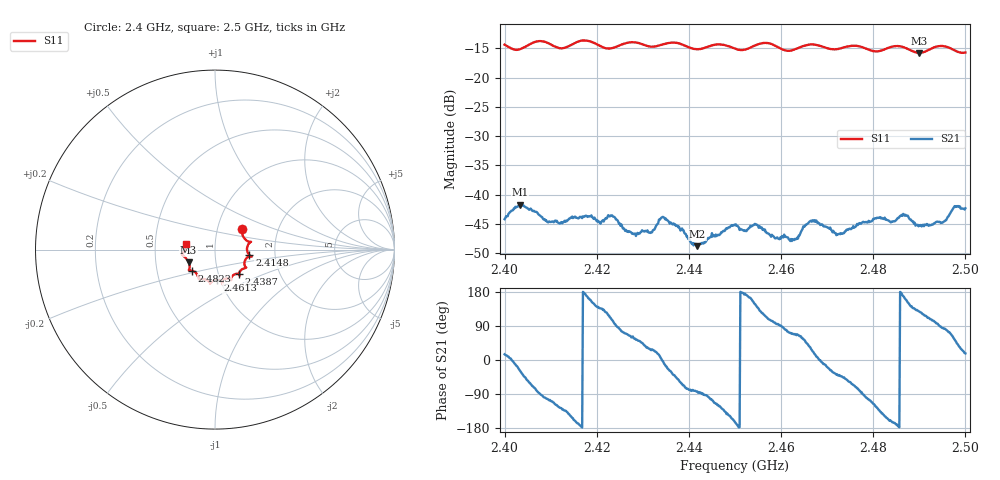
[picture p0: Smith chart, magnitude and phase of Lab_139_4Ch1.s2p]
# Hz S RI R 50
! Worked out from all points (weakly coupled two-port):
!   601 points, 2.4 GHz to 2.5 GHz, reference 50 ohm
!   highest |S21| = -41.71 dB at 2.4033 GHz (marker M1); lowest = -48.8 dB at 2.4418 GHz (marker M2)
!   lowest |S11| = -15.8 dB at 2.49 GHz (marker M3), VSWR 1.39, Z = 36.8 - j5.3 ohm
!   |S11| at or under -10 dB: start of sweep to end of sweep
!   S12 and S22 are empty: the file has one direction only
!   S11 on the Smith chart (normalised r, x): 2.4 GHz: 1.31, +0.32; 2.4148 GHz: 1.47, -0.10; 2.4387 GHz: 1.25, -0.36; 2.4613 GHz: 0.97, -0.34; 2.4823 GHz: 0.75, -0.18; 2.5 GHz: 0.72, +0.04
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2.4e9  0.1516 0.117  0.00598 0.00161  0 0  0 0
2.403333e9  0.1629 0.0638  0.00724 -0.00388  0 0  0 0
2.409667e9  0.1922 0.0373  -0.00167 -0.00568  0 0  0 0
2.414833e9  0.1914 -0.0314  -0.00567 -0.0028  0 0  0 0
2.416667e9  0.2033 -0.0398  -0.00646 -0.000446  0 0  0 0
2.4235e9  0.1635 -0.0743  -0.00147 0.00634  0 0  0 0
2.428167e9  0.1735 -0.1006  0.00258 0.00387  0 0  0 0
2.433333e9  0.1357 -0.1297  0.00551 0.00154  0 0  0 0
2.438667e9  0.1328 -0.1376  0.00198 -0.00458  0 0  0 0
2.441833e9  0.1031 -0.1414  0.00044 -0.00361  0 0  0 0
2.45e9  0.0726 -0.1615  -0.00528 -0.00151  0 0  0 0
2.456667e9  0.0441 -0.1934  -0.00202 0.00434  0 0  0 0
2.461333e9  0.0136 -0.1694  0.0011 0.00419  0 0  0 0
2.463167e9  -0.012 -0.1751  0.00164 0.00383  0 0  0 0
2.466667e9  -0.027 -0.1906  0.00527 0.00262  0 0  0 0
2.4725e9  -0.0655 -0.1637  0.00348 -0.00303  0 0  0 0
2.482333e9  -0.1279 -0.1179  -0.00515 -0.0035  0 0  0 0
2.483333e9  -0.1376 -0.1165  -0.00556 -0.00232  0 0  0 0
2.487e9  -0.1431 -0.1086  -0.00634 0.00228  0 0  0 0
2.49e9  -0.1472 -0.0701  -0.00337 0.00434  0 0  0 0
2.494667e9  -0.1844 -0.028  0.000179 0.00573  0 0  0 0
2.5e9  -0.1616 0.0298  0.0073 0.00229  0 0  0 0
